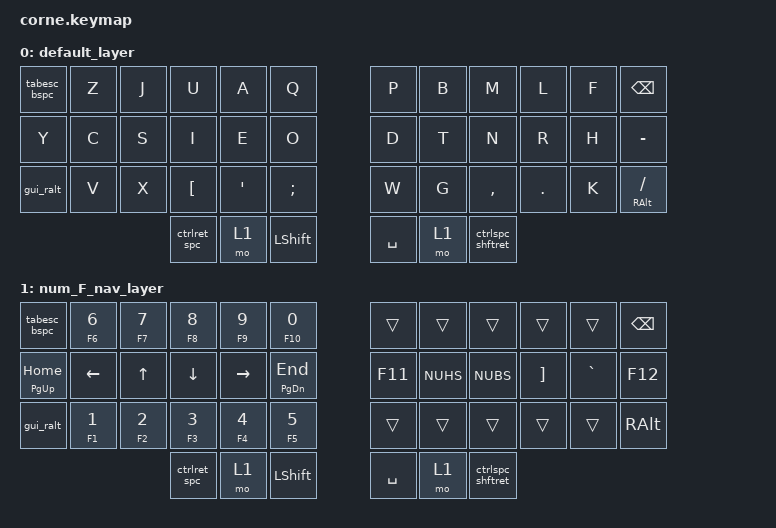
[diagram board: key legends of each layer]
/*
 * Copyright (c) 2020 The ZMK Contributors
 *
 * SPDX-License-Identifier: MIT
 */

#include <behaviors.dtsi>
#include <dt-bindings/zmk/keys.h>
#include <dt-bindings/zmk/bt.h>

#include <behaviors.dtsi>
#include <dt-bindings/zmk/keys.h>

// Aliases 
#define DE_CIRC GRAVE  // ^ (dead)
#define DE_SS   MINUS // ß
#define DE_ACUT PLUS  // ´ (dead)
#define DE_UE 	LBKT // Ü
#define DE_PLUS RBRC // +
#define DE_OE 	SEMI // Ö
#define DE_AE 	SQT // Ä
#define DE_HASH NUHS // #
#define DE_LABK NUBS // <
#define DE_MINS SLASH // -
#define DE_DEG  LS(DE_CIRC) // °
#define DE_EXLM LS(N1)    // !
#define DE_DQUO LS(N2)    // "
#define DE_SECT LS(N3)    // §
#define DE_DLR  LS(N4)    // $
#define DE_PERC LS(N5)    // %
#define DE_AMPR LS(N6)    // &
#define DE_SLSH LS(N7)    // /
#define DE_LPRN LS(N8)    // (
#define DE_RPRN LS(N9)    // )
#define DE_EQL  LS(N0)    // =
#define DE_QUES LS(DE_SS)   // ?
#define DE_GRV  LS(DE_ACUT) // ` (dead)
#define DE_ASTR LS(RBRC) // *
#define DE_QUOT LS(DE_HASH) // '
#define DE_RABK LS(DE_LABK) // >
#define DE_SCLN LS(COMMA) // ;
#define DE_COLN LS(DOT)  // :
#define DE_UNDS LS(DE_MINS) // _
#define DE_SUP2 RA(N2)    // ²
#define DE_SUP3 RA(N3)    // ³
#define DE_LCBR RA(N7)    // {
#define DE_LBRC RA(N8)    // [
#define DE_RBRC RA(N9)    // ]
#define DE_RCBR RA(N0)    // }
#define DE_BSLS RA(DE_SS)   // (backslash)
#define DE_AT   RA(Q)    // @
#define DE_EURO RA(E)    // €
#define DE_TILD RA(DE_PLUS) // ~
#define DE_PIPE RA(DE_LABK) // |
#define DE_MICR RA(M)    // µ

&mt {
tapping-term-ms = <200>;
 };

/ {
        behaviors {
        gui_ralt: gui_ralt_tabdance {
            compatible = "zmk,behavior-tap-dance";
            #binding-cells = <0>;
            tapping-term-ms = <150>;
            bindings = <&kp LGUI>, <&kp RALT>;
        };
        ctrlspc_shftret: ctrlspc_shftret_tabdance {
            compatible = "zmk,behavior-tap-dance";
            #binding-cells = <0>;
            tapping-term-ms = <150>;
            bindings = <&mt LCTRL SPC>, <&mt LSHFT RET>;
        };
        ctrlret_spc: ctrlret_spc_tabdance {
            compatible = "zmk,behavior-tap-dance";
            #binding-cells = <0>;
            tapping-term-ms = <150>;
            bindings = <&mt LCTRL RET>, <&kp SPACE>;
        };
        tabesc_bspc: tabesc_bspc_tabdance {
            compatible = "zmk,behavior-tap-dance";
            #binding-cells = <0>;
            tapping-term-ms = <150>;
            bindings = <&mt TAB ESC>, <&kp BSPC>;
        };
    };
        keymap {
                compatible = "zmk,keymap";

                default_layer {
// -----------------------------------------------------------------------------------------
// |tabesc_bspc|  Y  |  J   |  U  |  A  |  Q  |   |  P  |  B  |  M  |  L  |  F  |   BSPC  |
// |    Z      |  C  |  S   |  I  |  E  |  O  |   |  D  |  T  |  N  |  R  |  H  |    ß    |
// | gui_ralt  |  V  |  X   |  Ü  |  Ä  |  Ö  |   |  W  |  G  |  ,  |  .  |  K  |  - RALT |
//                   |ctrlret_spc|MO 1|SHFT|   | SPC |MO 1 |ctrlspc_shftret|

                        bindings = <
   &tabesc_bspc &kp Z &kp J &kp U    &kp A   &kp Q       &kp P &kp B &kp M     &kp L   &kp F &kp BSPC
   &kp Y        &kp C &kp S &kp I    &kp E   &kp O       &kp D &kp T &kp N     &kp R   &kp H &kp MINUS 
   &gui_ralt    &kp V &kp X &kp LBKT &kp SQT &kp SEMI    &kp W &kp G &kp COMMA &kp DOT &kp K &mt RALT SLASH
                         &ctrlret_spc &mo 1 &kp LSHFT   &kp SPACE &mo 1 &ctrlspc_shftret 
                        >;
                };
                num_F_nav_layer {
// -----------------------------------------------------------------------------------------
// |tabesc_bspc| F6 N6 | F7 N7 | F8 N8 | F9 N9 | F10 N0  |   |     |     |     |     |      |BSPC|
// |PG_UP HOME |  LFT  |  UP   |  DWN  | RIGHT |PG_DN END|   | F11 |NUHS#|NUBS<|RBKT+|GRAVE^|F12 |
// | gui_ralt  | F1 N1 | F2 N2 | F3 N3 | F4 N4 |  F5 N5  |   |     |     |     |     |      |RALT|   
//                              |ctrlret_spc|MO 1|SHFT|   | SPC |MO 1 |ctrlspc_shftret|
                        bindings = <
   &tabesc_bspc   &mt F6 N6 &mt F7 N7 &mt F8 N8 &mt F9 N9 &mt F10 N0      &trans  &trans   &trans   &trans   &trans    &kp BSPC 
   &mt PG_UP HOME &kp LEFT  &kp UP    &kp DOWN  &kp RIGHT &mt PG_DN END   &kp F11 &kp NUHS &kp NUBS &kp RBKT &kp GRAVE &kp F12
   &gui_ralt      &mt F1 N1 &mt F2 N2 &mt F3 N3 &mt F4 N4 &mt F5 N5       &trans  &trans   &trans   &trans   &trans    &kp RALT
                                       &ctrlret_spc &mo 1 &kp LSHFT       &kp SPACE &mo 1 &ctrlspc_shftret 
                        >;
                };
        };
};
